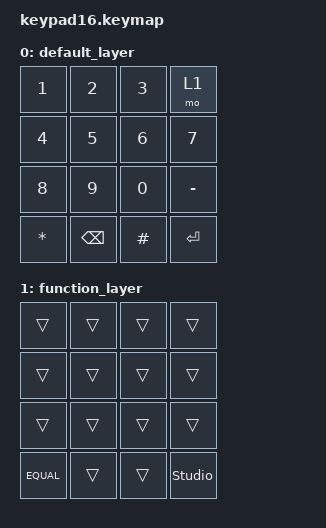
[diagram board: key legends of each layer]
#include <behaviors.dtsi>
#include <dt-bindings/zmk/keys.h>

/ {
    keymap {
        compatible = "zmk,keymap";
        
        default_layer {
            bindings = <
                &kp N1    &kp N2    &kp N3    &mo 1
                &kp N4    &kp N5    &kp N6    &kp N7
                &kp N8    &kp N9    &kp N0    &kp MINUS
                &kp ASTRK &kp BSPC  &kp POUND   &kp ENTER
            >;
        };
        
        function_layer {
            bindings = <
                &trans    &trans    &trans    &trans
                &trans    &trans    &trans    &trans
                &trans    &trans    &trans    &trans
                &EQUAL    &trans    &trans    &studio_unlock
            >;
        };
    };
};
